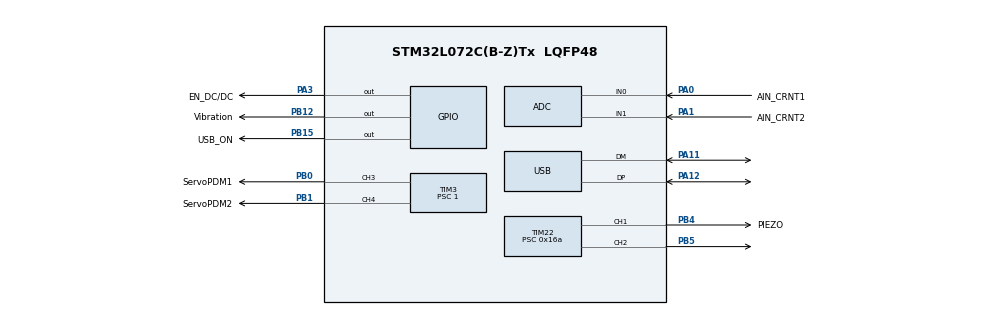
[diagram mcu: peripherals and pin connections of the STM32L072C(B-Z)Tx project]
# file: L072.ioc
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Mcu.Family=STM32L0
Mcu.Name=STM32L072C(B-Z)Tx
Mcu.Package=LQFP48
NVIC.USB_IRQn=true\:0\:0\:false\:false\:true\:false\:true
PA0.GPIO_Label=AIN_CRNT1
PA0.Mode=IN0
PA0.Signal=ADC_IN0
PA1.GPIO_Label=AIN_CRNT2
PA1.Mode=IN1
PA1.Signal=ADC_IN1
PA11.Mode=Device
PA11.Signal=USB_DM
PA12.Mode=Device
PA12.Signal=USB_DP
PA13.Mode=Serial_Wire
PA13.Signal=SYS_SWDIO
PA14.Mode=Serial_Wire
PA14.Signal=SYS_SWCLK
PA3.GPIO_Label=EN_DC/DC
PA3.Signal=GPIO_Output
PB0.GPIO_Label=ServoPDM1
PB0.GPIO_PuPd=GPIO_NOPULL
PB0.GPIO_Speed=GPIO_SPEED_FREQ_HIGH
PB0.Signal=S_TIM3_CH3
PB1.GPIO_Label=ServoPDM2
PB1.GPIO_Speed=GPIO_SPEED_FREQ_HIGH
PB1.Signal=S_TIM3_CH4
PB12.GPIO_Label=Vibration
PB12.Signal=GPIO_Output
PB15.GPIO_Label=USB_ON
PB15.Signal=GPIO_Output
PB4.GPIO_Label=PIEZO
PB4.Signal=S_TIM22_CH1
PB5.Signal=S_TIM22_CH2
PH0-OSC_IN.Mode=HSE-External-Oscillator
PH0-OSC_IN.Signal=RCC_OSC_IN
PH1-OSC_OUT.Mode=HSE-External-Oscillator
PH1-OSC_OUT.Signal=RCC_OSC_OUT
ProjectManager.HeapSize=0x200
ProjectManager.StackSize=0x400
ProjectManager.TargetToolchain=STM32CubeIDE
RCC.AHBFreq_Value=32000000
RCC.APB1Freq_Value=32000000
RCC.APB1TimFreq_Value=32000000
RCC.APB2Freq_Value=32000000
RCC.APB2TimFreq_Value=32000000
RCC.HCLKFreq_Value=32000000
RCC.HSE_VALUE=8000000
RCC.HSI16_VALUE=16000000
RCC.HSI48_VALUE=48000000
RCC.HSI_VALUE=16000000
RCC.LSE_VALUE=32768
RCC.MSI_VALUE=2097000
RCC.PLLDIV=RCC_PLLDIV_3
RCC.PLLMUL=RCC_PLLMUL_12
RCC.SYSCLKFreq_VALUE=32000000
RCC.SYSCLKSource=RCC_SYSCLKSOURCE_PLLCLK
RCC.VCOOutputFreq_Value=96000000
SH.S_TIM22_CH1.0=TIM22_CH1,PWM Generation1 CH1
SH.S_TIM22_CH2.0=TIM22_CH2,PWM Generation2 CH2
SH.S_TIM3_CH3.0=TIM3_CH3,PWM Generation3 CH3
SH.S_TIM3_CH4.0=TIM3_CH4,PWM Generation4 CH4
TIM22.AutoReloadPreload=TIM_AUTORELOAD_PRELOAD_DISABLE
TIM22.Channel-PWM\ Generation1\ CH1=TIM_CHANNEL_1
TIM22.Channel-PWM\ Generation2\ CH2=TIM_CHANNEL_2
TIM22.OCPolarity_1=TIM_OCPOLARITY_HIGH
TIM22.Period=0x2c
TIM22.Prescaler=0x16a
TIM3.Channel-PWM\ Generation3\ CH3=TIM_CHANNEL_3
TIM3.Channel-PWM\ Generation4\ CH4=TIM_CHANNEL_4
TIM3.OCPolarity_3=TIM_OCPOLARITY_LOW
TIM3.OCPolarity_4=TIM_OCPOLARITY_LOW
TIM3.Period=0x7D00
TIM3.Prescaler=1
USB_DEVICE.APP_RX_DATA_SIZE=100
USB_DEVICE.APP_TX_DATA_SIZE=100
USB_DEVICE.CLASS_NAME_FS=CDC
USB_DEVICE.MANUFACTURER_STRING=Rehabilitation Tech
USB_DEVICE.PRODUCT_STRING_CDC_FS=ExoHand Virtual ComPort
USB_DEVICE.VirtualMode=Cdc
USB_DEVICE.VirtualModeFS=Cdc_FS
VP_CRC_VS_CRC.Mode=CRC_Activate
VP_TIM22_VS_ClockSourceINT.Mode=Internal
VP_TIM3_VS_ClockSourceINT.Mode=Internal
VP_USB_DEVICE_VS_USB_DEVICE_CDC_FS.Mode=CDC_FS
board=custom

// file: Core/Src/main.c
/* USER CODE BEGIN Header */
/**
  ******************************************************************************
  * @file           : main.c
  * @brief          : Main program body
  ******************************************************************************
  * @attention
  *
  * <h2><center>&copy; Copyright (c) 2021 STMicroelectronics.
  * All rights reserved.</center></h2>
  *
  * This software component is licensed by ST under Ultimate Liberty license
  * SLA0044, the "License"; You may not use this file except in compliance with
  * the License. You may obtain a copy of the License at:
  *                             www.st.com/SLA0044
  *
  ******************************************************************************
  */
/* USER CODE END Header */
#include "main.h"
#include "adc.h"
#include "crc.h"
#include "tim.h"
#include "usb_device.h"
#include "gpio.h"

/* USER CODE BEGIN Includes */
#include "usbd_cdc_if.h"
/* USER CODE END Includes */

/* USER CODE BEGIN PD */
extern char str_rx[100];
extern char data_rx[96];
/* USER CODE END PD */

void SystemClock_Config(void);

/* USER CODE BEGIN 0 */

	uint16_t ServoAngle = 0;
	uint8_t Flag = 0;
	const	uint16_t AngleToCCR [] = {
0x1F40, 0x1F51, 0x1F62, 0x1F74, 0x1F85, 0x1F96, 0x1FA8, 0x1FB9, 0x1FCA, 0x1FDC, 0x1FED, 0x1FFF, 0x2010, 0x2021, 0x2033, 0x2044, 0x2055, 0x2067, 0x2078, 0x208A, 0x209B, 0x20AC, 0x20BE, 0x20CF, 0x20E0, 0x20F2, 0x2103, 0x2114, 0x2126, 0x2137, 0x2149, 0x215A, 0x216B, 0x217D, 0x218E, 0x219F, 0x21B1, 0x21C2, 0x21D4, 0x21E5, 0x21F6, 0x2208, 0x2219, 0x222A, 0x223C, 0x224D, 0x225F, 0x2270, 0x2281, 0x2293, 0x22A4, 0x22B5, 0x22C7, 0x22D8, 0x22E9, 0x22FB, 0x230C, 0x231E, 0x232F, 0x2340, 0x2352, 0x2363,
0x2374, 0x2386, 0x2397, 0x23A9, 0x23BA, 0x23CB, 0x23DD, 0x23EE, 0x23FF, 0x2411, 0x2422, 0x2433, 0x2445, 0x2456, 0x2468, 0x2479, 0x248A, 0x249C, 0x24AD, 0x24BE, 0x24D0, 0x24E1, 0x24F3, 0x2504, 0x2515, 0x2527, 0x2538, 0x2549, 0x255B, 0x256C, 0x257E, 0x258F, 0x25A0, 0x25B2, 0x25C3, 0x25D4, 0x25E6, 0x25F7, 0x2608, 0x261A, 0x262B, 0x263D, 0x264E, 0x265F, 0x2671, 0x2682, 0x2693, 0x26A5, 0x26B6, 0x26C8, 0x26D9, 0x26EA, 0x26FC, 0x270D, 0x271E, 0x2730, 0x2741, 0x2753, 0x2764, 0x2775, 0x2787, 0x2798,
0x27A9, 0x27BB, 0x27CC, 0x27DD, 0x27EF, 0x2800, 0x2812, 0x2823, 0x2834, 0x2846, 0x2857, 0x2868, 0x287A, 0x288B, 0x289D, 0x28AE, 0x28BF, 0x28D1, 0x28E2, 0x28F3, 0x2905, 0x2916, 0x2927, 0x2939, 0x294A, 0x295C, 0x296D, 0x297E, 0x2990, 0x29A1, 0x29B2, 0x29C4, 0x29D5, 0x29E7, 0x29F8, 0x2A09, 0x2A1B, 0x2A2C, 0x2A3D, 0x2A4F, 0x2A60, 0x2A72, 0x2A83, 0x2A94, 0x2AA6, 0x2AB7, 0x2AC8, 0x2ADA, 0x2AEB, 0x2AFC, 0x2B0E, 0x2B1F, 0x2B31, 0x2B42, 0x2B53, 0x2B65, 0x2B76, 0x2B87, 0x2B99, 0x2BAA, 0x2BBC, 0x2BCD,
0x2BDE, 0x2BF0, 0x2C01, 0x2C12, 0x2C24, 0x2C35, 0x2C46, 0x2C58, 0x2C69, 0x2C7B, 0x2C8C, 0x2C9D, 0x2CAF, 0x2CC0, 0x2CD1, 0x2CE3, 0x2CF4, 0x2D06, 0x2D17, 0x2D28, 0x2D3A, 0x2D4B, 0x2D5C, 0x2D6E, 0x2D7F, 0x2D91, 0x2DA2, 0x2DB3, 0x2DC5, 0x2DD6, 0x2DE7, 0x2DF9, 0x2E0A, 0x2E1B, 0x2E2D, 0x2E3E, 0x2E50, 0x2E61, 0x2E72, 0x2E84, 0x2E95, 0x2EA6, 0x2EB8, 0x2EC9, 0x2EDB, 0x2EEC, 0x2EFD, 0x2F0F, 0x2F20, 0x2F31, 0x2F43, 0x2F54, 0x2F66, 0x2F77, 0x2F88, 0x2F9A, 0x2FAB, 0x2FBC, 0x2FCE, 0x2FDF, 0x2FF0, 0x3002,
0x3013, 0x3025, 0x3036, 0x3047, 0x3059, 0x306A, 0x307B, 0x308D, 0x309E, 0x30B0, 0x30C1, 0x30D2, 0x30E4, 0x30F5, 0x3106, 0x3118, 0x3129, 0x313A, 0x314C, 0x315D, 0x316F, 0x3180, 0x3191, 0x31A3, 0x31B4, 0x31C5, 0x31D7, 0x31E8, 0x31FA, 0x320B, 0x321C, 0x322E, 0x323F, 0x3250, 0x3262, 0x3273, 0x3285, 0x3296, 0x32A7, 0x32B9, 0x32CA, 0x32DB, 0x32ED, 0x32FE, 0x330F, 0x3321, 0x3332, 0x3344, 0x3355, 0x3366, 0x3378, 0x3389, 0x339A, 0x33AC, 0x33BD, 0x33CF, 0x33E0, 0x33F1, 0x3403, 0x3414, 0x3425, 0x3437,
0x3448, 0x345A, 0x346B, 0x347C, 0x348E, 0x349F, 0x34B0, 0x34C2, 0x34D3, 0x34E4, 0x34F6, 0x3507, 0x3519, 0x352A, 0x353B, 0x354D, 0x355E, 0x356F, 0x3581, 0x3592, 0x35A4, 0x35B5, 0x35C6, 0x35D8, 0x35E9, 0x35FA, 0x360C, 0x361D, 0x362E, 0x3640, 0x3651, 0x3663, 0x3674, 0x3685, 0x3697, 0x36A8, 0x36B9, 0x36CB, 0x36DC, 0x36EE, 0x36FF, 0x3710, 0x3722, 0x3733, 0x3744, 0x3756, 0x3767, 0x3779, 0x378A, 0x379B, 0x37AD, 0x37BE, 0x37CF, 0x37E1, 0x37F2, 0x3803, 0x3815, 0x3826, 0x3838, 0x3849, 0x385A, 0x386C,
0x387D, 0x388E, 0x38A0, 0x38B1, 0x38C3, 0x38D4, 0x38E5, 0x38F7, 0x3908, 0x3919, 0x392B, 0x393C, 0x394D, 0x395F, 0x3970, 0x3982, 0x3993, 0x39A4, 0x39B6, 0x39C7, 0x39D8, 0x39EA, 0x39FB, 0x3A0D, 0x3A1E, 0x3A2F, 0x3A41, 0x3A52, 0x3A63, 0x3A75, 0x3A86, 0x3A98, 0x3AA9, 0x3ABA, 0x3ACC, 0x3ADD, 0x3AEE, 0x3B00, 0x3B11, 0x3B22, 0x3B34, 0x3B45, 0x3B57, 0x3B68, 0x3B79, 0x3B8B, 0x3B9C, 0x3BAD, 0x3BBF, 0x3BD0, 0x3BE2, 0x3BF3, 0x3C04, 0x3C16, 0x3C27, 0x3C38, 0x3C4A, 0x3C5B, 0x3C6D, 0x3C7E, 0x3C8F, 0x3CA1,
0x3CB2, 0x3CC3, 0x3CD5, 0x3CE6, 0x3CF7, 0x3D09, 0x3D1A, 0x3D2C, 0x3D3D, 0x3D4E, 0x3D60, 0x3D71, 0x3D82, 0x3D94, 0x3DA5, 0x3DB7, 0x3DC8, 0x3DD9, 0x3DEB, 0x3DFC, 0x3E0D, 0x3E1F, 0x3E30, 0x3E41, 0x3E53, 0x3E64, 0x3E76, 0x3E87, 0x3E98, 0x3EAA, 0x3EBB, 0x3ECC, 0x3EDE, 0x3EEF, 0x3F01, 0x3F12, 0x3F23, 0x3F35, 0x3F46, 0x3F57, 0x3F69, 0x3F7A, 0x3F8C, 0x3F9D, 0x3FAE, 0x3FC0, 0x3FD1, 0x3FE2, 0x3FF4, 0x4005, 0x4016, 0x4028, 0x4039, 0x404B, 0x405C, 0x406D, 0x407F, 0x4090, 0x40A1, 0x40B3, 0x40C4, 0x40D6,
0x40E7, 0x40F8, 0x410A, 0x411B, 0x412C, 0x413E, 0x414F, 0x4161, 0x4172, 0x4183, 0x4195, 0x41A6, 0x41B7, 0x41C9, 0x41DA, 0x41EB, 0x41FD, 0x420E, 0x4220, 0x4231, 0x4242, 0x4254, 0x4265, 0x4276, 0x4288, 0x4299, 0x42AB, 0x42BC, 0x42CD, 0x42DF, 0x42F0, 0x4301, 0x4313, 0x4324, 0x4335, 0x4347, 0x4358, 0x436A, 0x437B, 0x438C, 0x439E, 0x43AF, 0x43C0, 0x43D2, 0x43E3, 0x43F5, 0x4406, 0x4417, 0x4429, 0x443A, 0x444B, 0x445D, 0x446E, 0x4480, 0x4491, 0x44A2, 0x44B4, 0x44C5, 0x44D6, 0x44E8, 0x44F9, 0x450A,
0x451C, 0x452D, 0x453F, 0x4550, 0x4561, 0x4573, 0x4584, 0x4595, 0x45A7, 0x45B8, 0x45CA, 0x45DB, 0x45EC, 0x45FE, 0x460F, 0x4620, 0x4632, 0x4643, 0x4654, 0x4666, 0x4677, 0x4689, 0x469A, 0x46AB, 0x46BD, 0x46CE, 0x46DF, 0x46F1, 0x4702, 0x4714, 0x4725, 0x4736, 0x4748, 0x4759, 0x476A, 0x477C, 0x478D, 0x479F, 0x47B0, 0x47C1, 0x47D3, 0x47E4, 0x47F5, 0x4807, 0x4818, 0x4829, 0x483B, 0x484C, 0x485E, 0x486F, 0x4880, 0x4892, 0x48A3, 0x48B4, 0x48C6, 0x48D7, 0x48E9, 0x48FA, 0x490B, 0x491D, 0x492E, 0x493F,
0x4951, 0x4962, 0x4974, 0x4985, 0x4996, 0x49A8, 0x49B9, 0x49CA, 0x49DC, 0x49ED, 0x49FE, 0x4A10, 0x4A21, 0x4A33, 0x4A44, 0x4A55, 0x4A67, 0x4A78, 0x4A89, 0x4A9B, 0x4AAC, 0x4ABE, 0x4ACF, 0x4AE0, 0x4AF2, 0x4B03, 0x4B14, 0x4B26, 0x4B37, 0x4B48, 0x4B5A, 0x4B6B, 0x4B7D, 0x4B8E, 0x4B9F, 0x4BB1, 0x4BC2, 0x4BD3, 0x4BE5, 0x4BF6, 0x4C08, 0x4C19, 0x4C2A, 0x4C3C, 0x4C4D, 0x4C5E, 0x4C70, 0x4C81, 0x4C93, 0x4CA4, 0x4CB5, 0x4CC7, 0x4CD8, 0x4CE9, 0x4CFB, 0x4D0C, 0x4D1D, 0x4D2F, 0x4D40, 0x4D52, 0x4D63, 0x4D74,
0x4D86, 0x4D97, 0x4DA8, 0x4DBA, 0x4DCB, 0x4DDD, 0x4DEE, 0x4DFF, 0x4E11, 0x4E22, 0x4E33, 0x4E45, 0x4E56, 0x4E68, 0x4E79, 0x4E8A, 0x4E9C, 0x4EAD, 0x4EBE, 0x4ED0, 0x4EE1, 0x4EF2, 0x4F04, 0x4F15, 0x4F27, 0x4F38, 0x4F49, 0x4F5B, 0x4F6C, 0x4F7D, 0x4F8F, 0x4FA0, 0x4FB2, 0x4FC3, 0x4FD4, 0x4FE6, 0x4FF7, 0x5008, 0x501A, 0x502B, 0x503C, 0x504E, 0x505F, 0x5071, 0x5082, 0x5093, 0x50A5, 0x50B6, 0x50C7, 0x50D9, 0x50EA, 0x50FC, 0x510D, 0x511E, 0x5130, 0x5141, 0x5152, 0x5164, 0x5175, 0x5187, 0x5198, 0x51A9,
0x51BB, 0x51CC, 0x51DD, 0x51EF, 0x5200, 0x5211, 0x5223, 0x5234, 0x5246, 0x5257, 0x5268, 0x527A, 0x528B, 0x529C, 0x52AE, 0x52BF, 0x52D1, 0x52E2, 0x52F3, 0x5305, 0x5316, 0x5327, 0x5339, 0x534A, 0x535B, 0x536D, 0x537E, 0x5390, 0x53A1, 0x53B2, 0x53C4, 0x53D5, 0x53E6, 0x53F8, 0x5409, 0x541B, 0x542C, 0x543D, 0x544F, 0x5460, 0x5471, 0x5483, 0x5494, 0x54A6, 0x54B7, 0x54C8, 0x54DA, 0x54EB, 0x54FC, 0x550E, 0x551F, 0x5530, 0x5542, 0x5553, 0x5565, 0x5576, 0x5587, 0x5599, 0x55AA, 0x55BB, 0x55CD, 0x55DE,
0x55F0, 0x5601, 0x5612, 0x5624, 0x5635, 0x5646, 0x5658, 0x5669, 0x567B, 0x568C, 0x569D, 0x56AF, 0x56C0, 0x56D1, 0x56E3, 0x56F4, 0x5705, 0x5717, 0x5728, 0x573A, 0x574B, 0x575C, 0x576E, 0x577F, 0x5790, 0x57A2, 0x57B3, 0x57C5, 0x57D6, 0x57E7, 0x57F9, 0x580A, 0x581B, 0x582D, 0x583E, 0x584F, 0x5861, 0x5872, 0x5884, 0x5895, 0x58A6, 0x58B8, 0x58C9, 0x58DA, 0x58EC, 0x58FD, 0x590F, 0x5920, 0x5931, 0x5943, 0x5954, 0x5965, 0x5977, 0x5988, 0x599A, 0x59AB, 0x59BC, 0x59CE, 0x59DF, 0x59F0, 0x5A02, 0x5A13,
0x5A24, 0x5A36, 0x5A47, 0x5A59, 0x5A6A, 0x5A7B, 0x5A8D, 0x5A9E, 0x5AAF, 0x5AC1, 0x5AD2, 0x5AE4, 0x5AF5, 0x5B06, 0x5B18, 0x5B29, 0x5B3A, 0x5B4C, 0x5B5D, 0x5B6E, 0x5B80, 0x5B91, 0x5BA3, 0x5BB4, 0x5BC5, 0x5BD7, 0x5BE8, 0x5BF9, 0x5C0B, 0x5C1C, 0x5C2E, 0x5C3F, 0x5C50, 0x5C62, 0x5C73, 0x5C84, 0x5C96, 0x5CA7, 0x5CB9, 0x5CCA, 0x5CDB, 0x5CED, 0x5CFE, 0x5D0F, 0x5D21, 0x5D32, 0x5D43, 0x5D55, 0x5D66, 0x5D78, 0x5D89, 0x5D9A, 0x5DAC, 0x5DBD, 0x5DCE, 0x5DE0, 0x5DF1, 0x5E03, 0x5E14, 0x5E25, 0x5E37, 0x5E48,
0x5E59, 0x5E6B, 0x5E7C, 0x5E8E, 0x5E9F, 0x5EB0, 0x5EC2, 0x5ED3, 0x5EE4, 0x5EF6, 0x5F07, 0x5F18, 0x5F2A, 0x5F3B, 0x5F4D, 0x5F5E, 0x5F6F, 0x5F81, 0x5F92, 0x5FA3, 0x5FB5, 0x5FC6, 0x5FD8, 0x5FE9, 0x5FFA, 0x600C, 0x601D, 0x602E, 0x6040, 0x6051, 0x6062, 0x6074, 0x6085, 0x6097, 0x60A8, 0x60B9, 0x60CB, 0x60DC, 0x60ED, 0x60FF, 0x6110, 0x6122, 0x6133, 0x6144, 0x6156, 0x6167, 0x6178, 0x618A, 0x619B, 0x61AD, 0x61BE, 0x61CF, 0x61E1, 0x61F2, 0x6203, 0x6215, 0x6226, 0x6237, 0x6249, 0x625A, 0x626C, 0x627D,
0x628E, 0x62A0, 0x62B1, 0x62C2, 0x62D4, 0x62E5, 0x62F7, 0x6308, 0x6319, 0x632B, 0x633C, 0x634D, 0x635F, 0x6370, 0x6382, 0x6393, 0x63A4, 0x63B6, 0x63C7, 0x63D8, 0x63EA, 0x63FB, 0x640C, 0x641E, 0x642F, 0x6441, 0x6452, 0x6463, 0x6475, 0x6486, 0x6497, 0x64A9, 0x64BA, 0x64CC, 0x64DD, 0x64EE, 0x6500, 0x6511, 0x6522, 0x6534, 0x6545, 0x6556, 0x6568, 0x6579, 0x658B, 0x659C, 0x65AD, 0x65BF, 0x65D0, 0x65E1, 0x65F3, 0x6604, 0x6616, 0x6627, 0x6638, 0x664A, 0x665B, 0x666C, 0x667E, 0x668F, 0x66A1, 0x66B2,
0x66C3, 0x66D5, 0x66E6, 0x66F7, 0x6709, 0x671A, 0x672B, 0x673D, 0x674E, 0x6760, 0x6771, 0x6782, 0x6794, 0x67A5, 0x67B6, 0x67C8, 0x67D9, 0x67EB, 0x67FC, 0x680D, 0x681F, 0x6830, 0x6841, 0x6853, 0x6864, 0x6875, 0x6887, 0x6898, 0x68AA, 0x68BB, 0x68CC, 0x68DE, 0x68EF, 0x6900, 0x6912, 0x6923, 0x6935, 0x6946, 0x6957, 0x6969, 0x697A, 0x698B, 0x699D, 0x69AE, 0x69C0, 0x69D1, 0x69E2, 0x69F4, 0x6A05, 0x6A16, 0x6A28, 0x6A39, 0x6A4A, 0x6A5C, 0x6A6D, 0x6A7F, 0x6A90, 0x6AA1, 0x6AB3, 0x6AC4, 0x6AD5, 0x6AE7,
0x6AF8, 0x6B0A, 0x6B1B, 0x6B2C, 0x6B3E, 0x6B4F, 0x6B60, 0x6B72, 0x6B83, 0x6B95, 0x6BA6, 0x6BB7, 0x6BC9, 0x6BDA, 0x6BEB, 0x6BFD, 0x6C0E, 0x6C1F, 0x6C31, 0x6C42, 0x6C54, 0x6C65, 0x6C76, 0x6C88, 0x6C99, 0x6CAA, 0x6CBC, 0x6CCD, 0x6CDF, 0x6CF0, 0x6D01, 0x6D13, 0x6D24, 0x6D35, 0x6D47, 0x6D58, 0x6D69, 0x6D7B, 0x6D8C, 0x6D9E, 0x6DAF, 0x6DC0, 0x6DD2, 0x6DE3, 0x6DF4, 0x6E06, 0x6E17, 0x6E29, 0x6E3A, 0x6E4B, 0x6E5D, 0x6E6E, 0x6E7F, 0x6E91, 0x6EA2, 0x6EB4, 0x6EC5, 0x6ED6, 0x6EE8, 0x6EF9, 0x6F0A, 0x6F1C,
0x6F2D, 0x6F3E, 0x6F50, 0x6F61, 0x6F73, 0x6F84, 0x6F95, 0x6FA7, 0x6FB8, 0x6FC9, 0x6FDB, 0x6FEC, 0x6FFE, 0x700F, 0x7020, 0x7032, 0x7043, 0x7054, 0x7066, 0x7077, 0x7089, 0x709A, 0x70AB, 0x70BD, 0x70CE, 0x70DF, 0x70F1, 0x7102, 0x7113, 0x7125, 0x7136, 0x7148, 0x7159, 0x716A, 0x717C, 0x718D, 0x719E, 0x71B0, 0x71C1, 0x71D3, 0x71E4, 0x71F5, 0x7207, 0x7218, 0x7229, 0x723B, 0x724C, 0x725D, 0x726F, 0x7280, 0x7292, 0x72A3, 0x72B4, 0x72C6, 0x72D7, 0x72E8, 0x72FA, 0x730B, 0x731D, 0x732E, 0x733F, 0x7351,
0x7362, 0x7373, 0x7385, 0x7396, 0x73A8, 0x73B9, 0x73CA, 0x73DC, 0x73ED, 0x73FE, 0x7410, 0x7421, 0x7432, 0x7444, 0x7455, 0x7467, 0x7478, 0x7489, 0x749B, 0x74AC, 0x74BD, 0x74CF, 0x74E0, 0x74F2, 0x7503, 0x7514, 0x7526, 0x7537, 0x7548, 0x755A, 0x756B, 0x757C, 0x758E, 0x759F, 0x75B1, 0x75C2, 0x75D3, 0x75E5, 0x75F6, 0x7607, 0x7619, 0x762A, 0x763C, 0x764D, 0x765E, 0x7670, 0x7681, 0x7692, 0x76A4, 0x76B5, 0x76C7, 0x76D8, 0x76E9, 0x76FB, 0x770C, 0x771D, 0x772F, 0x7740, 0x7751, 0x7763, 0x7774, 0x7786,
0x7797, 0x77A8, 0x77BA, 0x77CB, 0x77DC, 0x77EE, 0x77FF, 0x7811, 0x7822, 0x7833, 0x7845, 0x7856, 0x7867, 0x7879, 0x788A, 0x789C, 0x78AD, 0x78BE, 0x78D0, 0x78E1, 0x78F2, 0x7904, 0x7915, 0x7926, 0x7938, 0x7949, 0x795B, 0x796C, 0x797D, 0x798F, 0x79A0, 0x79B1, 0x79C3, 0x79D4, 0x79E6, 0x79F7, 0x7A08, 0x7A1A, 0x7A2B, 0x7A3C, 0x7A4E, 0x7A5F, 0x7A70, 0x7A82, 0x7A93, 0x7AA5, 0x7AB6, 0x7AC7, 0x7AD9, 0x7AEA, 0x7AFB, 0x7B0D, 0x7B1E, 0x7B30, 0x7B41, 0x7B52, 0x7B64, 0x7B75, 0x7B86, 0x7B98, 0x7BA9, 0x7BBB,
0x7BCC, 0x7BDD, 0x7BEF, 0x7C00, 0x7C11, 0x7C23, 0x7C34, 0x7C45, 0x7C57, 0x7C68, 0x7C7A, 0x7C8B, 0x7C9C, 0x7CAE, 0x7CBF, 0x7CD0, 0x7CE2, 0x7CF3, 0x7D05, 0x7D16, 0x7D27, 0x7D39, 0x7D4A, 0x7D5B, 0x7D6D, 0x7D7E, 0x7D90, 0x7DA1, 0x7DB2, 0x7DC4, 0x7DD5, 0x7DE6, 0x7DF8, 0x7E09, 0x7E1A, 0x7E2C };
void TurnServoAngle(uint32_t Angle)
{
		LL_TIM_OC_SetCompareCH3(TIM3, AngleToCCR[Angle]);
}

void ServoGo(uint16_t Angle)
{
		if (Flag == 0)
		{
			if (ServoAngle < Angle)
			{
				ServoAngle = ServoAngle + 1;
			}
			else
			{
				Flag = 1;
			}
		}
		else
		{
			if (ServoAngle > 0)
			{
				ServoAngle = ServoAngle - 1;
			}
			else
			{
				Flag = 0;
			}
		}
		TurnServoAngle(ServoAngle);
//		LL_mDelay(1);
}
/* USER CODE END 0 */

int main(void)
{

  /* MCU Configuration--------------------------------------------------------*/

  /* Reset of all peripherals, Initializes the Flash interface and the Systick. */
  HAL_Init();

  /* Configure the system clock */
  SystemClock_Config();

  /* Initialize all configured peripherals */
  MX_GPIO_Init();
  MX_ADC_Init();
  MX_TIM3_Init();
  MX_USB_DEVICE_Init();
  MX_TIM22_Init();
  MX_CRC_Init();
  /* USER CODE BEGIN 2 */
  LL_GPIO_SetOutputPin(EN_DC_DC_GPIO_Port, EN_DC_DC_Pin);
  LL_TIM_CC_EnableChannel(TIM3, LL_TIM_CHANNEL_CH3);
  LL_TIM_EnableCounter(TIM3);
  LL_TIM_OC_SetCompareCH3(TIM3, 0x1F40);
  LL_TIM_CC_EnableChannel(TIM22, LL_TIM_CHANNEL_CH1);
  LL_TIM_EnableCounter(TIM22);
  LL_TIM_OC_SetCompareCH1(TIM22, 0x16);

  LL_GPIO_SetOutputPin(Vibration_GPIO_Port, Vibration_Pin);
  LL_TIM_EnableCounter(TIM22);
  LL_mDelay(100);
  LL_GPIO_ResetOutputPin(Vibration_GPIO_Port, Vibration_Pin);
//  LL_TIM_DisableCounter(TIM22);
  LL_mDelay(100);
  LL_GPIO_SetOutputPin(Vibration_GPIO_Port, Vibration_Pin);
  LL_mDelay(100);
  LL_GPIO_ResetOutputPin(Vibration_GPIO_Port, Vibration_Pin);

  /* USER CODE END 2 */

  /* Infinite loop */
  /* USER CODE BEGIN WHILE */
  while (1)
  {

//	LL_mDelay(1000);
//	CDC_Transmit_FS(str_rx, strlen(str_rx));
	TurnServoAngle(data_rx[1] + data_rx[0] * 256);

//	ServoGo(1200);
//	TurnServoAngle(1200);
//	LL_mDelay(5000);
//	TurnServoAngle(0);
//	LL_mDelay(5000);
    /* USER CODE END WHILE */

  }
}

void SystemClock_Config(void)
{
  LL_FLASH_SetLatency(LL_FLASH_LATENCY_1);
  while(LL_FLASH_GetLatency()!= LL_FLASH_LATENCY_1)
  {
  }
  LL_PWR_SetRegulVoltageScaling(LL_PWR_REGU_VOLTAGE_SCALE1);
  LL_RCC_HSE_Enable();

   /* Wait till HSE is ready */
  while(LL_RCC_HSE_IsReady() != 1)
  {

  }
  LL_RCC_PLL_ConfigDomain_SYS(LL_RCC_PLLSOURCE_HSE, LL_RCC_PLL_MUL_12, LL_RCC_PLL_DIV_3);
  LL_RCC_PLL_Enable();

   /* Wait till PLL is ready */
  while(LL_RCC_PLL_IsReady() != 1)
  {

  }
  LL_RCC_SetAHBPrescaler(LL_RCC_SYSCLK_DIV_1);
  LL_RCC_SetAPB1Prescaler(LL_RCC_APB1_DIV_1);
  LL_RCC_SetAPB2Prescaler(LL_RCC_APB2_DIV_1);
  LL_RCC_SetSysClkSource(LL_RCC_SYS_CLKSOURCE_PLL);

   /* Wait till System clock is ready */
  while(LL_RCC_GetSysClkSource() != LL_RCC_SYS_CLKSOURCE_STATUS_PLL)
  {

  }
  LL_SetSystemCoreClock(32000000);

   /* Update the time base */
  if (HAL_InitTick (TICK_INT_PRIORITY) != HAL_OK)
  {
    Error_Handler();
  }
  LL_RCC_SetUSBClockSource(LL_RCC_USB_CLKSOURCE_PLL);
}

void Error_Handler(void)
{
}

/************************ (C) COPYRIGHT STMicroelectronics *****END OF FILE****/
